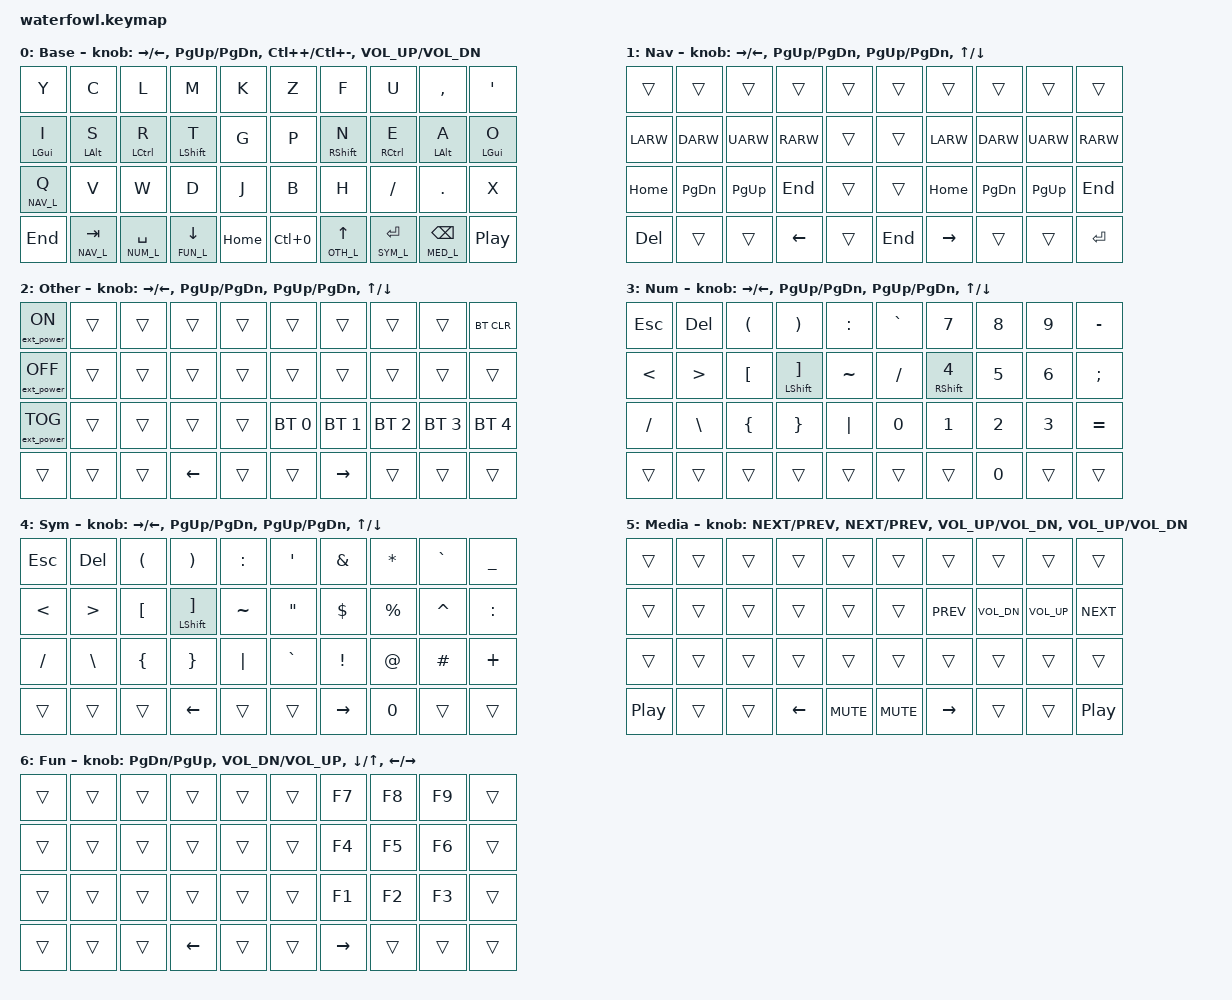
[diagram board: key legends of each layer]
/*
 * Copyright (c) 2022 The ZMK Contributors
 *
 * SPDX-License-Identifier: MIT
 */

#include <behaviors.dtsi>
#include <dt-bindings/zmk/keys.h>
#include <dt-bindings/zmk/bt.h>
#include <dt-bindings/zmk/outputs.h>
#include <dt-bindings/zmk/ext_power.h>

#define NAV_L 1
#define OTH_L 2
#define NUM_L 3
#define SYM_L 4
#define MED_L 5
#define FUN_L 6

// Using layer taps on thumbs, having quick tap as well helps w/ repeating space/backspace
&lt { quick_tap_ms = <200>; };

/ {
    combos {
        compatible = "zmk,combos";

        med_mo {
	    timeout-ms = <50>;
            key-positions = <30 31>;
            bindings = <&caps_word>;
        };

        fn_mo {
	    timeout-ms = <50>;
            key-positions = <32 33>;
            bindings = <&mo FUN_L>;
        };

    };

    behaviors {
        hm: homerow_mods {
            compatible = "zmk,behavior-hold-tap";
            label = "homerow mods";
            #binding-cells = <2>;
            tapping_term_ms = <200>;
            flavor = "tap-preferred";
            bindings = <&kp>, <&kp>;
        };
    };

    keymap {
        compatible = "zmk,keymap";

        default_layer {
            label = "Base";
/* ISRT
 *
 *                                      ,----------------------------------.                      ,----------------------------------.
 *                                      |   Y  |   C  |   L  |   M  |   K  |                      |   Z  |   F  |   U  |   ,  |   '  |
 *                                      |------+------+------+------+------|                      |------+------+------+------+------|
 *                                      |   I  |   S  |   R  |   T  |   G  |                      |   P  |   N  |   E  |   A  |   O  |
 *                                      |------+------+------+------+------|  ,-----.    ,-----.  |------+------+------+------+------|
 *                                      |   Q  |   V  |   W  |   D  |   J  |  | HOME|    |LC(0)|  |   B  |   H  |   /  |   .  |   X  |
 *                                      `----------------------------------'  `-----'    `-----'  `----------------------------------'
 *                                               ,-----.   ,--------------------.            ,--------------------.   ,--------------.
 *                                               | END |   | TAB | SPACE | DOWN |            |  UP   | BS | ENTER |   |  PLAY_PAUSE  |
 *                                               `-----'   `--------------------'            `--------------------'   `--------------'
 */
            bindings = <
                &kp Y         &kp C           &kp L            &kp M           &kp K      &kp Z      &kp F           &kp U           &kp COMMA       &kp SQT
                &hm LGUI I    &hm LALT S      &hm LCTRL R      &hm LSHFT T     &kp G      &kp P      &hm RSHFT N     &hm RCTRL E     &hm LALT A      &hm LGUI O
                &hm NAV_L Q   &kp V           &kp W            &kp D           &kp J      &kp B      &kp H           &kp FSLH        &kp DOT         &kp X
                &kp END       &lt NAV_L TAB   &lt NUM_L SPACE  &lt FUN_L DOWN  &kp HOME   &kp LC(0)  &lt OTH_L UP    &lt SYM_L RET   &lt MED_L BKSP  &kp C_PLAY_PAUSE
            >;

            sensor-bindings = <
                &inc_dec_kp RIGHT LEFT
                &inc_dec_kp PAGE_UP PAGE_DOWN
                &inc_dec_kp LC(PLUS) LC(MINUS)
                &inc_dec_kp C_VOL_UP C_VOL_DN
            >;
        };
        nav_layer {
                label = "Nav";

/* NAV
 *
 *                                  ,----------------------------------.                      ,----------------------------------.
 *                                  |   *  |   *  |   *  |   *  |   *  |                      |   *  |   *  |   *  |   *  |   *  |
 *                                  |------+------+------+------+------|                      |------+------+------+------+------|
 *                                  | LEFT | DOWN |  UP  |RIGHT |   *  |                      |   *  | LEFT | DOWN |  UP  |RIGHT |
 *                                  |------+------+------+------+------|  ,-----.    ,-----.  |------+------+------+------+------|
 *                                  | HOME |PG_DN |PG_UP | END  |   *  |  | *   |    | END |  |   *  | HOME |PG_DN |PG_UP | END  |
 *                                  `----------------------------------'  `-----'    `-----'  `----------------------------------'
 *                                           ,-----.   ,--------------------.            ,--------------------.   ,---------.
 *                                           | DEL |   |   *  |   *  | LEFT |            | RIGHT |  *  |  *   |   |  ENTER  |
 *                                           `-----'   `--------------------'            `--------------------'   `---------'
 */

            bindings = <
                &trans          &trans        &trans       &trans        &trans       &trans      &trans         &trans        &trans          &trans
                &kp LARW        &kp DARW      &kp UARW     &kp RARW      &trans       &trans      &kp LARW       &kp DARW      &kp UARW        &kp RARW
                &kp HOME        &kp PG_DN     &kp PG_UP    &kp END       &trans       &trans      &kp HOME       &kp PG_DN     &kp PG_UP       &kp END
                &kp DEL         &trans        &trans       &kp LEFT      &trans       &kp END     &kp RIGHT      &trans        &trans          &kp ENTER
            >;
            sensor-bindings = <
                &inc_dec_kp RIGHT LEFT
                &inc_dec_kp PAGE_UP PAGE_DOWN
                &inc_dec_kp PAGE_UP PAGE_DOWN
                &inc_dec_kp UP DOWN
            >;
        };
        other_layer {
            label = "Other";

/* OTH
 *
 *                                 ,----------------------------------.                      ,----------------------------------.
 *                                 |EP_ON |   *  |   *  |   *  |   *  |                      |   *  |   *  |   *  |   *  |BT_CLR|
 *                                 |------+------+------+------+------|                      |------+------+------+------+------|
 *                                 |EP_OFF|   *  |   *  |   *  |   *  |                      |   *  |   *  |   *  |   *  |   *  |
 *                                 |------+------+------+------+------|  ,-----.    ,-----.  |------+------+------+------+------|
 *                                 |EP_TOG|   *  |   *  |   *  |   *  |  |  *  |    |  *  |  |  BT0 |  BT1 |  BT2 |  BT3 | BT4  |
 *                                 `----------------------------------'  `-----'    `-----'  `----------------------------------'
 *                                          ,-----.   ,--------------------.            ,--------------------.   ,-----.
 *                                          |  *  |   |   *  |   *  | LEFT |            | RIGHT |  *  |  *   |   |  *  |
 *                                          `-----'   `--------------------'            `--------------------'   `-----'
 */

            bindings = <
                &ext_power EP_ON      &trans     &trans     &trans      &trans       &trans           &trans         &trans        &trans        &bt BT_CLR
                &ext_power EP_OFF     &trans     &trans     &trans      &trans       &trans           &trans         &trans        &trans        &trans
                &ext_power EP_TOG     &trans     &trans     &trans      &trans       &bt BT_SEL 0     &bt BT_SEL 1   &bt BT_SEL 2  &bt BT_SEL 3  &bt BT_SEL 4
                &trans                &trans     &trans     &kp LEFT    &trans       &trans           &kp RIGHT      &trans        &trans        &trans       
            >;
            sensor-bindings = <
                &inc_dec_kp RIGHT LEFT
                &inc_dec_kp PAGE_UP PAGE_DOWN
                &inc_dec_kp PAGE_UP PAGE_DOWN
                &inc_dec_kp UP DOWN
            >;
        };
        num_layer {
            label = "Num";

/* NUM
 *
 *                                  ,----------------------------------.                      ,----------------------------------.
 *                                  | ESC  |  DEL |   (  |   )  |   :  |                      |   `  |   7  |   8  |   9  |   -  |
 *                                  |------+------+------+------+------|                      |------+------+------+------+------|
 *                                  |  <   |   >  |   [  |   ]  |   ~  |                      |   /  |   4  |   5  |   6  |   ;  |
 *                                  |------+------+------+------+------|  ,-----.    ,-----.  |------+------+------+------+------|
 *                                  |  /   |   \  |   {  |   }  | PIPE |  |  *  |    |  *  |  |   0  |   1  |   2  |   3  |   =  |
 *                                  `----------------------------------'  `-----'    `-----'  `----------------------------------'
 *                                           ,-----.   ,--------------------.            ,--------------------.   ,-----.
 *                                           |  *  |   |   *  |   *  |  *   |            |   *   |  0  |  *   |   |  *  |
 *                                           `-----'   `--------------------'            `--------------------'   `-----'
 */

            bindings = <
                &kp ESC   &kp DEL    &kp LPAR      &kp RPAR         &kp COLON     &kp GRAVE        &kp N7         &kp N8      &kp N9     &kp MINUS
                &kp LT    &kp GT     &kp LBKT      &hm LSHFT RBKT   &kp TILDE     &kp FSLH         &hm RSHFT N4   &kp N5      &kp N6     &kp SEMI
                &kp FSLH  &kp BSLH   &kp LBRC      &kp RBRC         &kp PIPE      &kp N0           &kp N1         &kp N2      &kp N3     &kp EQUAL
                &trans    &trans     &trans        &trans           &trans        &trans           &trans         &kp N0      &trans     &trans
            >;
            sensor-bindings = <
                &inc_dec_kp RIGHT LEFT
                &inc_dec_kp PAGE_UP PAGE_DOWN
                &inc_dec_kp PAGE_UP PAGE_DOWN
                &inc_dec_kp UP DOWN
            >;
        };

        sym_layer {
            label = "Sym";

/* SYM
 *
 *                                  ,----------------------------------.                      ,----------------------------------.
 *                                  | ESC  |  DEL |   (  |   )  |   :  |                      |   '  |   &  |   *  |   `  |   _  |
 *                                  |------+------+------+------+------|                      |------+------+------+------+------|
 *                                  |  <   |   >  |   [  |   ]  |   ~  |                      |   "  |   $  |   %  |   ^  |   :  |
 *                                  |------+------+------+------+------|  ,-----.    ,-----.  |------+------+------+------+------|
 *                                  |  /   |   \  |   {  |   }  | PIPE |  | *   |    | END |  |   `  |   !  |   @  |   #  |   +  |
 *                                  `----------------------------------'  `-----'    `-----'  `----------------------------------'
 *                                           ,-----.   ,--------------------.            ,--------------------.   ,-----.
 *                                           |  *  |   |   *  |   *  | LEFT |            | RIGHT |  0  |  *   |   |  *  |
 *                                           `-----'   `--------------------'            `--------------------'   `-----'
 */

            bindings = <
                &kp ESC   &kp DEL     &kp LPAR      &kp RPAR         &kp COLON        &kp SQT    &kp AMPS    &kp STAR   &kp GRAVE  &kp UNDER
                &kp LT    &kp GT      &kp LBKT      &hm LSHFT RBKT   &kp TILDE        &kp DQT    &kp DLLR    &kp PRCNT  &kp CARET  &kp COLON
                &kp FSLH  &kp BSLH    &kp LBRC      &kp RBRC         &kp PIPE         &kp GRAVE  &kp EXCL    &kp AT     &kp HASH   &kp PLUS
                &trans    &trans      &trans        &kp LEFT         &trans           &trans     &kp RIGHT   &kp N0     &trans     &trans
            >;
            sensor-bindings = <
                &inc_dec_kp RIGHT LEFT
                &inc_dec_kp PAGE_UP PAGE_DOWN
                &inc_dec_kp PAGE_UP PAGE_DOWN
                &inc_dec_kp UP DOWN
            >;
        };

        media_layer {
            label = "Media";

/* MED
 *
 *                             ,----------------------------------.                      ,----------------------------------.
 *                             |  *   |   *  |   *  |   *  |   *  |                      |   *  |   *  |   *  |   *  |   *  |
 *                             |------+------+------+------+------|                      |------+------+------+------+------|
 *                             |  *   |   *  |   *  |   *  |   *  |                      |   *  | PREV | VOL- | VOL+ | NEXT |
 *                             |------+------+------+------+------|  ,-----.    ,-----.  |------+------+------+------+------|
 *                             |  *   |   *  |   *  |   *  |   *  |  |MUTE |    |MUTE |  |   *  |   *  |   *  |   *  |   *  |
 *                             `----------------------------------'  `-----'    `-----'  `----------------------------------'
 *                                      ,-----.   ,--------------------.            ,--------------------.   ,-----.
 *                                      | PP  |   |   *  |   *  | LEFT |            | RIGHT |  *  |  *   |   | PP  |
 *                                      `-----'   `--------------------'            `--------------------'   `-----'
 */

            bindings = <
                &trans	          &trans     &trans     &trans       &trans       &trans         &trans         &trans          &trans        &trans
                &trans            &trans     &trans     &trans       &trans       &trans         &kp C_PREV     &kp C_VOL_DN    &kp C_VOL_UP  &kp C_NEXT
                &trans            &trans     &trans     &trans       &trans       &trans         &trans         &trans          &trans        &trans
                &kp C_PLAY_PAUSE  &trans     &trans     &kp LEFT     &kp C_MUTE   &kp C_MUTE     &kp RIGHT      &trans          &trans        &kp C_PLAY_PAUSE
            >;
            sensor-bindings = <
                &inc_dec_kp C_NEXT C_PREV
                &inc_dec_kp C_NEXT C_PREV
                &inc_dec_kp C_VOL_UP C_VOL_DN
                &inc_dec_kp C_VOL_UP C_VOL_DN
            >;
        };

        fun_layer {
            label = "Fun";

/* FUN
 *
 *                             ,----------------------------------.                      ,----------------------------------.
 *                             |  *   |   *  |   *  |   *  |   *  |                      |   *  |  F7  |  F8  |  F9  |   *  |
 *                             |------+------+------+------+------|                      |------+------+------+------+------|
 *                             |  *   |   *  |   *  |   *  |   *  |                      |   *  |  F4  |  F5  |  F6  |   *  |
 *                             |------+------+------+------+------|  ,-----.    ,-----.  |------+------+------+------+------|
 *                             |  *   |   *  |   *  |   *  |   *  |  |  *  |    |  *  |  |   *  |  F1  |  F2  |  F3  |   *  |
 *                             `----------------------------------'  `-----'    `-----'  `----------------------------------'
 *                                      ,-----.   ,--------------------.            ,--------------------.   ,-----.
 *                                      |  *  |   |   *  |   *  | LEFT |            | RIGHT |  *  |  *   |   |  *  |
 *                                      `-----'   `--------------------'            `--------------------'   `-----'
 */

            bindings = <
                &trans      &trans       &trans      &trans     &trans      &trans       &kp F7         &kp F8      &kp F9     &trans
                &trans      &trans       &trans      &trans     &trans      &trans       &kp F4         &kp F5      &kp F6     &trans
                &trans      &trans       &trans      &trans     &trans      &trans       &kp F1         &kp F2      &kp F3     &trans
                &trans      &trans       &trans      &kp LEFT   &trans      &trans       &kp RIGHT      &trans      &trans     &trans
            >;
            sensor-bindings = <
                &inc_dec_kp PAGE_DOWN PAGE_UP
                &inc_dec_kp C_VOL_DN C_VOL_UP
                &inc_dec_kp DOWN UP
                &inc_dec_kp LEFT RIGHT
            >;
        };
    };
};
